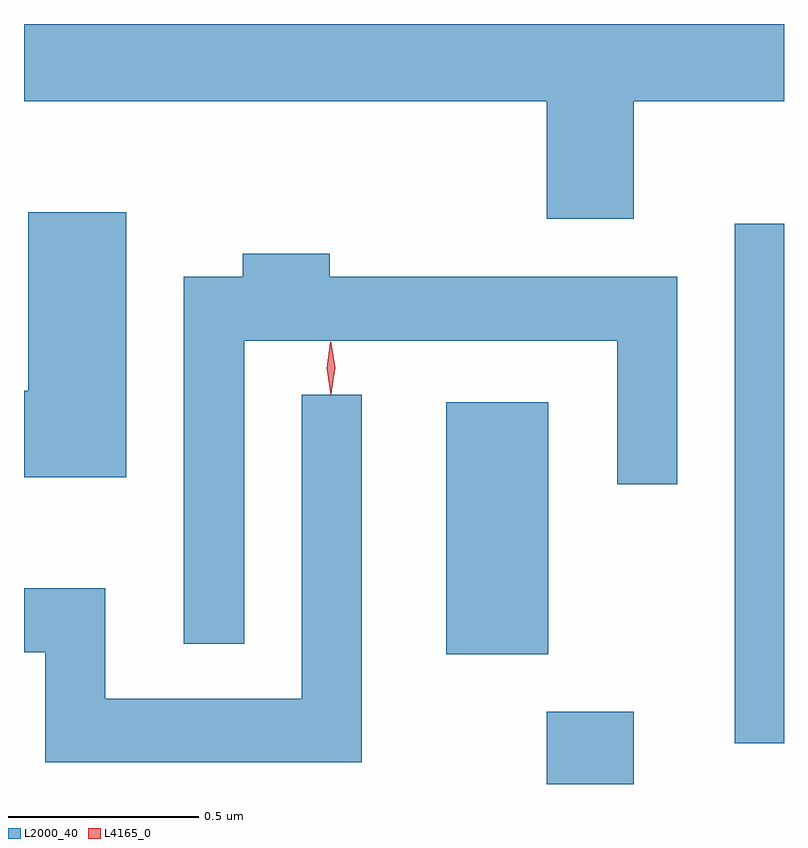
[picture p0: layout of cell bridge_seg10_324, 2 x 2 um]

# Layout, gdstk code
import gdstk
lib = gdstk.Library(unit=1e-6, precision=1e-09)
def R(c, l, rs):  # rectangles x0, y0, x1, y1
    for r in rs: c.add(gdstk.rectangle(r[:2], r[2:], *l))
def P(c, l, *ps):  # polygons
    for p in ps: c.add(gdstk.Polygon(p, *l))
L2000_40 = (2000, 40)
L4165_0 = (4165, 0)

bridge_seg10_324 = lib.new_cell('bridge_seg10_324')
R(bridge_seg10_324, L2000_40, [(1427.641,2158.739,1427.869,2158.929), (1428.136,2158.846,1428.265,2160.213), (1427.376,2159.081,1427.644,2159.744)])
P(bridge_seg10_324, L2000_40, [(1427.869,2160.536),(1428.265,2160.536),(1428.265,2160.739),(1426.265,2160.739),(1426.265,2160.536),(1427.641,2160.536),(1427.641,2160.226),(1427.869,2160.226)],
  [(1426.534,2160.244),(1426.276,2160.244),(1426.276,2159.774),(1426.265,2159.774),(1426.265,2159.546),(1426.534,2159.546)],
  [(1426.844,2159.906),(1427.826,2159.906),(1427.826,2159.528),(1427.984,2159.528),(1427.984,2160.074),(1427.069,2160.074),(1427.069,2160.134),(1426.841,2160.134),(1426.841,2160.074),(1426.686,2160.074),(1426.686,2159.108),(1426.844,2159.108)],
  [(1427.154,2159.763),(1426.996,2159.763),(1426.996,2158.964),(1426.479,2158.964),(1426.479,2159.254),(1426.265,2159.254),(1426.265,2159.086),(1426.321,2159.086),(1426.321,2158.796),(1427.154,2158.796)])
P(bridge_seg10_324, L4165_0, [(1427.073,2159.767),(1427.064,2159.834),(1427.073,2159.9),(1427.074,2159.901),(1427.074,2159.9),(1427.084,2159.834),(1427.074,2159.767),(1427.074,2159.767)],
  [(1427.072,2159.764),(1427.072,2159.764),(1427.062,2159.833),(1427.071,2159.902),(1427.072,2159.903),(1427.072,2159.902),(1427.082,2159.833),(1427.073,2159.764)])

lib.write_gds('bridge_seg10_324.gds')
